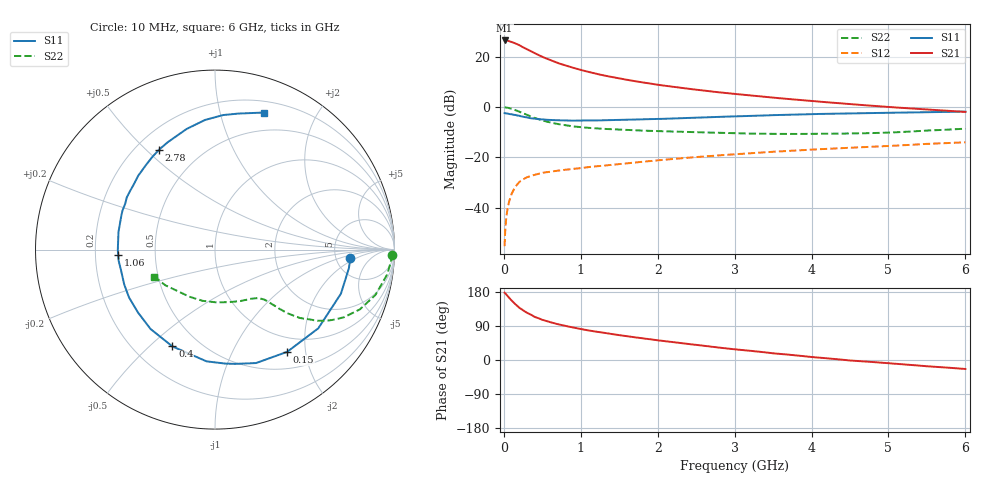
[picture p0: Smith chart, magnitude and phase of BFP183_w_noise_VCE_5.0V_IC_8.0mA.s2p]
! Infineon Technologies  Discrete & RF Semiconductors
! BFP183
! VCE = 5.0 V,  IC =  8.0 mA
! Common Emitter S-Parameters:  Jan 2016
# GHz  S  MA  R  50
!  f  S11  S21  S12  S22
! GHz  MAG  ANG  MAG  ANG  MAG  ANG  MAG  ANG
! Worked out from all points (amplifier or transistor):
!   210 points, 10 MHz to 6 GHz, reference 50 ohm
!   highest |S21| = 26.5 dB at 10 MHz (marker M1)
!   |S21| within 3 dB of that: start of sweep to 267.7 MHz
!   unconditionally stable (mu >= 1): 1.318 GHz to 5.685 GHz
!   at 185 MHz: K = 0.22, MSG = 27.6 dB, |S12| = -30.4 dB
!   at 1.52 GHz: K = 1.05, MAG = 15.5 dB, |S12| = -22.6 dB
!   at 6 GHz: K = 0.95, MSG = 6.1 dB, |S12| = -14.0 dB
!   lowest NFmin = 1.30 dB at 450 MHz
!   S11 on the Smith chart (normalised r, x): 10 MHz: 6.82, -1.55; 150 MHz: 0.75, -1.67; 400 MHz: 0.36, -0.59; 1.06 GHz: 0.30, -0.02; 2.78 GHz: 0.29, +0.55; 6 GHz: 0.31, +1.37
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0.01  0.7555 -3.7  21.17 177.5  0.0017 83.2  0.988 -1.6
0.025  0.7495 -9.8  21.1 174.4  0.0049 80.7  0.9812 -4.1
0.05  0.7433 -19.3  20.98 168.1  0.0099 82.4  0.9697 -8.2
0.1  0.7236 -37.3  19.82 157.1  0.0185 71.6  0.9285 -15.8
0.15  0.6972 -54.8  18.54 146.9  0.0258 64.3  0.8735 -22.4
0.2  0.6722 -70.1  17.11 138.1  0.0321 58.0  0.8108 -27.7
0.24  0.6466 -80.0  15.78 132.3  0.0354 54.1  0.7631 -30.9
0.3  0.6245 -94.3  14.15 124.7  0.0401 49.8  0.6961 -34.7
0.4  0.5892 -113.8  11.84 113.9  0.0449 44.8  0.6061 -38.9
0.5  0.5698 -129.0  9.967 106.0  0.049 41.4  0.5399 -41.2
0.6  0.5541 -140.7  8.653 99.8  0.0518 39.5  0.4942 -42.4
0.7  0.5482 -150.9  7.524 94.5  0.0541 39.1  0.4593 -43.2
0.8  0.5417 -159.1  6.733 89.7  0.0565 38.4  0.4341 -43.9
1.02  0.5401 -174.5  5.376 81.0  0.0615 38.2  0.3949 -45.2
1.06  0.5403 -177.0  5.193 79.6  0.0627 38.3  0.39 -45.5
1.5  0.5538 161.4  3.716 65.5  0.0736 38.9  0.3554 -49.6
2.02  0.5795 141.7  2.749 51.5  0.0874 39.2  0.3321 -57.0
2.78  0.637 119.4  1.979 33.1  0.1087 37.0  0.3071 -72.0
3.1  0.6588 111.7  1.766 26.4  0.1174 35.7  0.2982 -79.4
4.1  0.7287 92.8  1.283 6.3  0.1446 29.9  0.293 -106.5
5.1  0.7722 79.2  0.98 -10.0  0.1706 24.4  0.3149 -134.2
6  0.811 70.3  0.8 -23.7  0.1985 17.0  0.3709 -156.0
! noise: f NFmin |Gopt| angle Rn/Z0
0.45  1.3  0.17  43  0.21
0.9  1.35  0.21  115  0.2
1.8  2.05  0.33  -177  0.14
